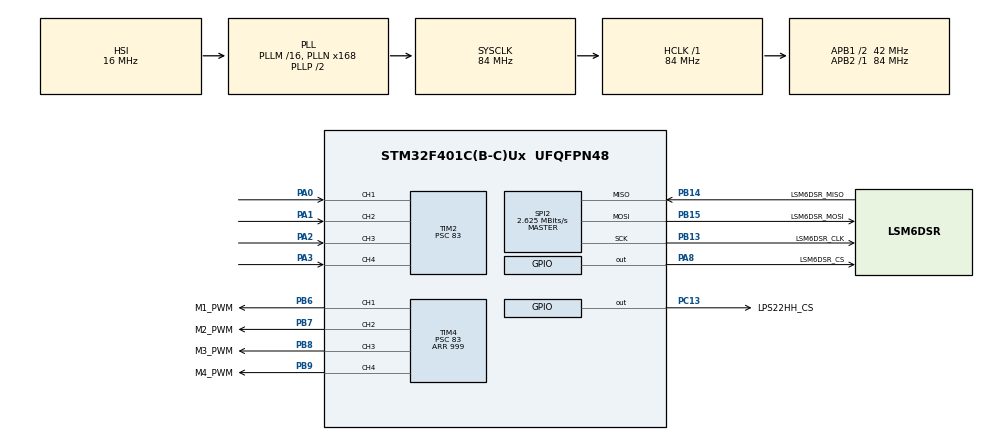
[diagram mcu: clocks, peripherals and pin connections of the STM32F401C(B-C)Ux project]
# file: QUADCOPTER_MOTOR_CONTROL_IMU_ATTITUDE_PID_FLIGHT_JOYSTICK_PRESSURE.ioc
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Mcu.Family=STM32F4
Mcu.Name=STM32F401C(B-C)Ux
Mcu.Package=UFQFPN48
NVIC.PriorityGroup=NVIC_PRIORITYGROUP_4
NVIC.TIM2_IRQn=true\:0\:0\:false\:false\:true\:true\:true\:true
NVIC.TIM3_IRQn=true\:0\:0\:false\:false\:true\:true\:true\:true
PA0-WKUP.Signal=S_TIM2_CH1_ETR
PA1.Signal=S_TIM2_CH2
PA2.Signal=S_TIM2_CH3
PA3.Signal=S_TIM2_CH4
PA8.GPIO_Label=LSM6DSR_CS
PA8.GPIO_PuPd=GPIO_PULLUP
PA8.PinState=GPIO_PIN_SET
PA8.Signal=GPIO_Output
PB13.GPIO_Label=LSM6DSR_CLK
PB13.Mode=Full_Duplex_Master
PB13.Signal=SPI2_SCK
PB14.GPIO_Label=LSM6DSR_MISO
PB14.Mode=Full_Duplex_Master
PB14.Signal=SPI2_MISO
PB15.GPIO_Label=LSM6DSR_MOSI
PB15.Mode=Full_Duplex_Master
PB15.Signal=SPI2_MOSI
PB6.GPIO_Label=M1_PWM
PB6.Signal=S_TIM4_CH1
PB7.GPIO_Label=M2_PWM
PB7.Signal=S_TIM4_CH2
PB8.GPIO_Label=M3_PWM
PB8.Signal=S_TIM4_CH3
PB9.GPIO_Label=M4_PWM
PB9.Signal=S_TIM4_CH4
PC13-ANTI_TAMP.GPIO_Label=LPS22HH_CS
PC13-ANTI_TAMP.GPIO_PuPd=GPIO_PULLUP
PC13-ANTI_TAMP.PinState=GPIO_PIN_SET
PC13-ANTI_TAMP.Signal=GPIO_Output
ProjectManager.HeapSize=0x200
ProjectManager.StackSize=0x400
ProjectManager.TargetToolchain=STM32CubeIDE
RCC.48MHZClocksFreq_Value=42000000
RCC.AHBFreq_Value=84000000
RCC.APB1CLKDivider=RCC_HCLK_DIV2
RCC.APB1Freq_Value=42000000
RCC.APB1TimFreq_Value=84000000
RCC.APB2Freq_Value=84000000
RCC.APB2TimFreq_Value=84000000
RCC.CortexFreq_Value=84000000
RCC.HCLKFreq_Value=84000000
RCC.HSE_VALUE=25000000
RCC.HSI_VALUE=16000000
RCC.LSE_VALUE=32768
RCC.PLLN=168
RCC.SYSCLKFreq_VALUE=84000000
RCC.SYSCLKSource=RCC_SYSCLKSOURCE_PLLCLK
RCC.VCOOutputFreq_Value=168000000
SH.S_TIM2_CH1_ETR.0=TIM2_CH1,Input_Capture1_from_TI1
SH.S_TIM2_CH2.0=TIM2_CH2,Input_Capture2_from_TI2
SH.S_TIM2_CH3.0=TIM2_CH3,Input_Capture3_from_TI3
SH.S_TIM2_CH4.0=TIM2_CH4,Input_Capture4_from_TI4
SH.S_TIM4_CH1.0=TIM4_CH1,PWM Generation1 CH1
SH.S_TIM4_CH2.0=TIM4_CH2,PWM Generation2 CH2
SH.S_TIM4_CH3.0=TIM4_CH3,PWM Generation3 CH3
SH.S_TIM4_CH4.0=TIM4_CH4,PWM Generation4 CH4
SPI2.BaudRatePrescaler=SPI_BAUDRATEPRESCALER_16
SPI2.CalculateBaudRate=2.625 MBits/s
SPI2.Direction=SPI_DIRECTION_2LINES
SPI2.Mode=SPI_MODE_MASTER
SPI2.VirtualType=VM_MASTER
STMicroelectronics.X-CUBE-ALGOBUILD.1.4.0.LibraryCcDSPOoLibraryJjDSPOoLibrary=true
TIM2.Channel-Input_Capture1_from_TI1=TIM_CHANNEL_1
TIM2.Channel-Input_Capture2_from_TI2=TIM_CHANNEL_2
TIM2.Channel-Input_Capture3_from_TI3=TIM_CHANNEL_3
TIM2.Channel-Input_Capture4_from_TI4=TIM_CHANNEL_4
TIM2.ICPolarity_CH1=TIM_INPUTCHANNELPOLARITY_BOTHEDGE
TIM2.ICPolarity_CH2=TIM_INPUTCHANNELPOLARITY_BOTHEDGE
TIM2.ICPolarity_CH3=TIM_INPUTCHANNELPOLARITY_BOTHEDGE
TIM2.ICPolarity_CH4=TIM_INPUTCHANNELPOLARITY_BOTHEDGE
TIM2.Prescaler=83
TIM3.Period=1999
TIM3.Prescaler=83
TIM4.Channel-PWM\ Generation1\ CH1=TIM_CHANNEL_1
TIM4.Channel-PWM\ Generation2\ CH2=TIM_CHANNEL_2
TIM4.Channel-PWM\ Generation3\ CH3=TIM_CHANNEL_3
TIM4.Channel-PWM\ Generation4\ CH4=TIM_CHANNEL_4
TIM4.Period=999
TIM4.Prescaler=83
VP_STMicroelectronics.X-CUBE-ALGOBUILD_VS_DSPOoLibraryJjLibrary_1.4.0_1.4.0.Mode=DSPOoLibraryJjLibrary
VP_TIM2_VS_ClockSourceINT.Mode=Internal
VP_TIM3_VS_ClockSourceINT.Mode=Internal
VP_TIM4_VS_ClockSourceINT.Mode=Internal
board=custom

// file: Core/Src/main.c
/* USER CODE BEGIN Header */
/**
  ******************************************************************************
  * @file           : main.c
  * @brief          : Main program body
  ******************************************************************************
  * @attention
  *
  * Copyright (c) 2025 STMicroelectronics.
  * All rights reserved.
  *
  * This software is licensed under terms that can be found in the LICENSE file
  * in the root directory of this software component.
  * If no LICENSE file comes with this software, it is provided AS-IS.
  *
  ******************************************************************************
  */
/* USER CODE END Header */
#include "main.h"

/* USER CODE BEGIN Includes */
#include "motor_drone.h"
#include "LSM6DSR.h"
#include "imu_data.h"
#include "euler_angles.h"
#include "pid_control.h"
#include "drone_control.h"
#include "LPS22HH.h"
/* USER CODE END Includes */

SPI_HandleTypeDef hspi2;

TIM_HandleTypeDef htim2;
TIM_HandleTypeDef htim3;
TIM_HandleTypeDef htim4;

/* USER CODE BEGIN PV */
lsm6dsr_handler imu_sensor =
{
		.spi_imu = &hspi2,
		.gpio_cs_pin = LSM6DSR_CS_Pin ,
		.gpio_cs_port = LSM6DSR_CS_GPIO_Port,
};
lps22hh_handler pressure_sensor =
{
		.gpio_cs_pin = LPS22HH_CS_Pin,
		.gpio_cs_port = LPS22HH_CS_GPIO_Port,
		.spi_handler = &hspi2,
};
static imu_norm imu_norm_data;
static euler_angles euler_angles_robot;
static euler_angles euler_angles_reference =
{
		.pitch = 0,
		.roll = 0,
		.yaw = 0,
};
extern DroneTypeDef drone;
static float altitude_reference;
/* USER CODE END PV */

void SystemClock_Config(void);
static void MX_GPIO_Init(void);
static void MX_TIM4_Init(void);
static void MX_SPI2_Init(void);
static void MX_TIM3_Init(void);
static void MX_TIM2_Init(void);

/* USER CODE BEGIN 0 */
void HAL_TIM_PeriodElapsedCallback(TIM_HandleTypeDef *htim)
{
	if(htim == &htim3)
	{
		lsm6dsr_read_data(&imu_sensor);
		sensor2imu_lsm6dsr(imu_sensor, &imu_norm_data);
		complementary_filter_euler(imu_norm_data,  &euler_angles_robot);
		drone_update_angle(&drone,euler_angles_robot);
		lps22hh_estimate_altitude(&pressure_sensor);
		drone.altitude = pressure_sensor.altitude;
		if(!drone.start_flight)
		{
			drone_set_zero(&drone);
			euler_angles_reference.pitch = 0;
			euler_angles_reference.roll = 0;
			euler_angles_reference.yaw = 0;
			altitude_reference = 0;

		}
		else
		{
			drone_apply_control(&drone, euler_angles_reference, altitude_reference);
		}

	}
}
uint32_t ch1_duty,ch2_duty,ch3_duty,ch4_duty;
void HAL_TIM_IC_CaptureCallback(TIM_HandleTypeDef *htim)
{
	static uint32_t ch1_last, ch2_last, ch3_last,ch4_last;
	static int16_t start_flight_counter = 0;
	uint32_t ch1,ch2,ch3,ch4;
    if(htim ->Channel == HAL_TIM_ACTIVE_CHANNEL_1)
    {
        ch1 = HAL_TIM_ReadCapturedValue(htim, TIM_CHANNEL_1);
        if(ch1 > ch1_last && ch1 - ch1_last < 3000)
        {
        	ch1_duty = ch1 - ch1_last;
        	euler_angles_reference.roll = ((float)ch1_duty - 1500) / 1250;
        }
        ch1_last = ch1;
    }
    if(htim ->Channel == HAL_TIM_ACTIVE_CHANNEL_2)
    {
        ch2 = HAL_TIM_ReadCapturedValue(htim, TIM_CHANNEL_2);
        if(ch2 > ch2_last && ch2 - ch2_last < 3000)
        {
        	ch2_duty = ch2 - ch2_last;
        	euler_angles_reference.pitch = ((float)ch2_duty - 1500) / 1250;
        }
        ch2_last = ch2;

    }
    if(htim ->Channel == HAL_TIM_ACTIVE_CHANNEL_3)
    {
        ch3 = HAL_TIM_ReadCapturedValue(htim, TIM_CHANNEL_3);
        if(ch3 > ch3_last && ch3 - ch3_last < 3000)
        {
        	ch3_duty = ch3 - ch3_last;
        if(ch3_duty > 1650)
		{
			if(start_flight_counter >= 100)
			{
				start_flight_counter = 100;
				drone.start_flight = 1;
				altitude_reference = 1;
			}
			else
			{
				start_flight_counter++;
			}
		}
		else
		{
			if(ch3_duty < 1050)
			{
				if(start_flight_counter <= 0)
				{
					drone.start_flight = 0;
				}
				else
				{
					start_flight_counter--;
				}
			}

		}
		if(drone.start_flight)
		{
			drone.voltage_default = HOVERING_VOLTAGE;
			altitude_reference += ((float)ch3_duty - 1500) / 100000;

		}
		else
		{
			drone.voltage_default = 0;
			euler_angles_robot.yaw = 0;
			euler_angles_reference.yaw = 0;
			altitude_reference = 0;
		}
        }
        ch3_last = ch3;

    }
    if(htim ->Channel == HAL_TIM_ACTIVE_CHANNEL_4)
    {
    	ch4 = HAL_TIM_ReadCapturedValue(htim, TIM_CHANNEL_4);
		if(ch4 > ch4_last && ch4 - ch4_last < 3000)
		{
			ch4_duty = ch4 - ch4_last;
			if(ch4_duty > 1520 || ch4_duty < 1480)
			{
				euler_angles_reference.yaw += ((float)ch4_duty - 1500) / 25000;
				if(euler_angles_reference.yaw > PI)
				{
					euler_angles_reference.yaw -= 2 *PI;
				}
				if(euler_angles_reference.yaw < -PI)
				{
					euler_angles_reference.yaw += 2 *PI;
				}
			}
		}
		 ch4_last = ch4;
    }
}

/* USER CODE END 0 */

int main(void)
{

  /* MCU Configuration--------------------------------------------------------*/

  /* Reset of all peripherals, Initializes the Flash interface and the Systick. */
  HAL_Init();

  /* Configure the system clock */
  SystemClock_Config();

  /* Initialize all configured peripherals */
  MX_GPIO_Init();
  MX_TIM4_Init();
  MX_SPI2_Init();
  MX_TIM3_Init();
  MX_TIM2_Init();
  /* USER CODE BEGIN 2 */
  HAL_Delay(1000);
  lsm6dsr_init(&imu_sensor, 500);
  drone_initialization(&drone);
  lps22hh_init(&pressure_sensor);
  HAL_TIM_Base_Start_IT(&htim3);
  HAL_Delay(1000);
  // drone.start_flight = 1;
  HAL_TIM_IC_Start_IT(&htim2, TIM_CHANNEL_1);
  HAL_TIM_IC_Start_IT(&htim2, TIM_CHANNEL_2);
  HAL_TIM_IC_Start_IT(&htim2, TIM_CHANNEL_3);
  HAL_TIM_IC_Start_IT(&htim2, TIM_CHANNEL_4);
  /* USER CODE END 2 */

  /* Infinite loop */
  while (1)
  {

  }
}

void SystemClock_Config(void)
{
  RCC_OscInitTypeDef RCC_OscInitStruct = {0};
  RCC_ClkInitTypeDef RCC_ClkInitStruct = {0};

  /** Configure the main internal regulator output voltage
  */
  __HAL_RCC_PWR_CLK_ENABLE();
  __HAL_PWR_VOLTAGESCALING_CONFIG(PWR_REGULATOR_VOLTAGE_SCALE2);

  /** Initializes the RCC Oscillators according to the specified parameters
  * in the RCC_OscInitTypeDef structure.
  */
  RCC_OscInitStruct.OscillatorType = RCC_OSCILLATORTYPE_HSI;
  RCC_OscInitStruct.HSIState = RCC_HSI_ON;
  RCC_OscInitStruct.HSICalibrationValue = RCC_HSICALIBRATION_DEFAULT;
  RCC_OscInitStruct.PLL.PLLState = RCC_PLL_ON;
  RCC_OscInitStruct.PLL.PLLSource = RCC_PLLSOURCE_HSI;
  RCC_OscInitStruct.PLL.PLLM = 16;
  RCC_OscInitStruct.PLL.PLLN = 168;
  RCC_OscInitStruct.PLL.PLLP = RCC_PLLP_DIV2;
  RCC_OscInitStruct.PLL.PLLQ = 4;
  if (HAL_RCC_OscConfig(&RCC_OscInitStruct) != HAL_OK)
  {
    Error_Handler();
  }

  /** Initializes the CPU, AHB and APB buses clocks
  */
  RCC_ClkInitStruct.ClockType = RCC_CLOCKTYPE_HCLK|RCC_CLOCKTYPE_SYSCLK
                              |RCC_CLOCKTYPE_PCLK1|RCC_CLOCKTYPE_PCLK2;
  RCC_ClkInitStruct.SYSCLKSource = RCC_SYSCLKSOURCE_PLLCLK;
  RCC_ClkInitStruct.AHBCLKDivider = RCC_SYSCLK_DIV1;
  RCC_ClkInitStruct.APB1CLKDivider = RCC_HCLK_DIV2;
  RCC_ClkInitStruct.APB2CLKDivider = RCC_HCLK_DIV1;

  if (HAL_RCC_ClockConfig(&RCC_ClkInitStruct, FLASH_LATENCY_2) != HAL_OK)
  {
    Error_Handler();
  }
}

static void MX_SPI2_Init(void)
{

  /* SPI2 parameter configuration*/
  hspi2.Instance = SPI2;
  hspi2.Init.Mode = SPI_MODE_MASTER;
  hspi2.Init.Direction = SPI_DIRECTION_2LINES;
  hspi2.Init.DataSize = SPI_DATASIZE_8BIT;
  hspi2.Init.CLKPolarity = SPI_POLARITY_LOW;
  hspi2.Init.CLKPhase = SPI_PHASE_1EDGE;
  hspi2.Init.NSS = SPI_NSS_SOFT;
  hspi2.Init.BaudRatePrescaler = SPI_BAUDRATEPRESCALER_16;
  hspi2.Init.FirstBit = SPI_FIRSTBIT_MSB;
  hspi2.Init.TIMode = SPI_TIMODE_DISABLE;
  hspi2.Init.CRCCalculation = SPI_CRCCALCULATION_DISABLE;
  hspi2.Init.CRCPolynomial = 10;
  if (HAL_SPI_Init(&hspi2) != HAL_OK)
  {
    Error_Handler();
  }

}

static void MX_TIM2_Init(void)
{

  TIM_ClockConfigTypeDef sClockSourceConfig = {0};
  TIM_MasterConfigTypeDef sMasterConfig = {0};
  TIM_IC_InitTypeDef sConfigIC = {0};

  htim2.Instance = TIM2;
  htim2.Init.Prescaler = 83;
  htim2.Init.CounterMode = TIM_COUNTERMODE_UP;
  htim2.Init.Period = 4294967295;
  htim2.Init.ClockDivision = TIM_CLOCKDIVISION_DIV1;
  htim2.Init.AutoReloadPreload = TIM_AUTORELOAD_PRELOAD_DISABLE;
  if (HAL_TIM_Base_Init(&htim2) != HAL_OK)
  {
    Error_Handler();
  }
  sClockSourceConfig.ClockSource = TIM_CLOCKSOURCE_INTERNAL;
  if (HAL_TIM_ConfigClockSource(&htim2, &sClockSourceConfig) != HAL_OK)
  {
    Error_Handler();
  }
  if (HAL_TIM_IC_Init(&htim2) != HAL_OK)
  {
    Error_Handler();
  }
  sMasterConfig.MasterOutputTrigger = TIM_TRGO_RESET;
  sMasterConfig.MasterSlaveMode = TIM_MASTERSLAVEMODE_DISABLE;
  if (HAL_TIMEx_MasterConfigSynchronization(&htim2, &sMasterConfig) != HAL_OK)
  {
    Error_Handler();
  }
  sConfigIC.ICPolarity = TIM_INPUTCHANNELPOLARITY_BOTHEDGE;
  sConfigIC.ICSelection = TIM_ICSELECTION_DIRECTTI;
  sConfigIC.ICPrescaler = TIM_ICPSC_DIV1;
  sConfigIC.ICFilter = 0;
  if (HAL_TIM_IC_ConfigChannel(&htim2, &sConfigIC, TIM_CHANNEL_1) != HAL_OK)
  {
    Error_Handler();
  }
  if (HAL_TIM_IC_ConfigChannel(&htim2, &sConfigIC, TIM_CHANNEL_2) != HAL_OK)
  {
    Error_Handler();
  }
  if (HAL_TIM_IC_ConfigChannel(&htim2, &sConfigIC, TIM_CHANNEL_3) != HAL_OK)
  {
    Error_Handler();
  }
  if (HAL_TIM_IC_ConfigChannel(&htim2, &sConfigIC, TIM_CHANNEL_4) != HAL_OK)
  {
    Error_Handler();
  }

}

static void MX_TIM3_Init(void)
{

  TIM_ClockConfigTypeDef sClockSourceConfig = {0};
  TIM_MasterConfigTypeDef sMasterConfig = {0};

  htim3.Instance = TIM3;
  htim3.Init.Prescaler = 83;
  htim3.Init.CounterMode = TIM_COUNTERMODE_UP;
  htim3.Init.Period = 1999;
  htim3.Init.ClockDivision = TIM_CLOCKDIVISION_DIV1;
  htim3.Init.AutoReloadPreload = TIM_AUTORELOAD_PRELOAD_DISABLE;
  if (HAL_TIM_Base_Init(&htim3) != HAL_OK)
  {
    Error_Handler();
  }
  sClockSourceConfig.ClockSource = TIM_CLOCKSOURCE_INTERNAL;
  if (HAL_TIM_ConfigClockSource(&htim3, &sClockSourceConfig) != HAL_OK)
  {
    Error_Handler();
  }
  sMasterConfig.MasterOutputTrigger = TIM_TRGO_RESET;
  sMasterConfig.MasterSlaveMode = TIM_MASTERSLAVEMODE_DISABLE;
  if (HAL_TIMEx_MasterConfigSynchronization(&htim3, &sMasterConfig) != HAL_OK)
  {
    Error_Handler();
  }

}

static void MX_TIM4_Init(void)
{

  TIM_ClockConfigTypeDef sClockSourceConfig = {0};
  TIM_MasterConfigTypeDef sMasterConfig = {0};
  TIM_OC_InitTypeDef sConfigOC = {0};

  htim4.Instance = TIM4;
  htim4.Init.Prescaler = 83;
  htim4.Init.CounterMode = TIM_COUNTERMODE_UP;
  htim4.Init.Period = 999;
  htim4.Init.ClockDivision = TIM_CLOCKDIVISION_DIV1;
  htim4.Init.AutoReloadPreload = TIM_AUTORELOAD_PRELOAD_DISABLE;
  if (HAL_TIM_Base_Init(&htim4) != HAL_OK)
  {
    Error_Handler();
  }
  sClockSourceConfig.ClockSource = TIM_CLOCKSOURCE_INTERNAL;
  if (HAL_TIM_ConfigClockSource(&htim4, &sClockSourceConfig) != HAL_OK)
  {
    Error_Handler();
  }
  if (HAL_TIM_PWM_Init(&htim4) != HAL_OK)
  {
    Error_Handler();
  }
  sMasterConfig.MasterOutputTrigger = TIM_TRGO_RESET;
  sMasterConfig.MasterSlaveMode = TIM_MASTERSLAVEMODE_DISABLE;
  if (HAL_TIMEx_MasterConfigSynchronization(&htim4, &sMasterConfig) != HAL_OK)
  {
    Error_Handler();
  }
  sConfigOC.OCMode = TIM_OCMODE_PWM1;
  sConfigOC.Pulse = 0;
  sConfigOC.OCPolarity = TIM_OCPOLARITY_HIGH;
  sConfigOC.OCFastMode = TIM_OCFAST_DISABLE;
  if (HAL_TIM_PWM_ConfigChannel(&htim4, &sConfigOC, TIM_CHANNEL_1) != HAL_OK)
  {
    Error_Handler();
  }
  if (HAL_TIM_PWM_ConfigChannel(&htim4, &sConfigOC, TIM_CHANNEL_2) != HAL_OK)
  {
    Error_Handler();
  }
  if (HAL_TIM_PWM_ConfigChannel(&htim4, &sConfigOC, TIM_CHANNEL_3) != HAL_OK)
  {
    Error_Handler();
  }
  if (HAL_TIM_PWM_ConfigChannel(&htim4, &sConfigOC, TIM_CHANNEL_4) != HAL_OK)
  {
    Error_Handler();
  }
  /* USER CODE BEGIN TIM4_Init 2 */
  HAL_TIM_Base_Start(&htim4);
    HAL_TIM_PWM_Start(&htim4, TIM_CHANNEL_1);
    HAL_TIM_PWM_Start(&htim4, TIM_CHANNEL_2);
    HAL_TIM_PWM_Start(&htim4, TIM_CHANNEL_3);
    HAL_TIM_PWM_Start(&htim4, TIM_CHANNEL_4);
  /* USER CODE END TIM4_Init 2 */
  HAL_TIM_MspPostInit(&htim4);

}

static void MX_GPIO_Init(void)
{
  GPIO_InitTypeDef GPIO_InitStruct = {0};

  /* GPIO Ports Clock Enable */
  __HAL_RCC_GPIOC_CLK_ENABLE();
  __HAL_RCC_GPIOA_CLK_ENABLE();
  __HAL_RCC_GPIOB_CLK_ENABLE();

  /*Configure GPIO pin Output Level */
  HAL_GPIO_WritePin(LPS22HH_CS_GPIO_Port, LPS22HH_CS_Pin, GPIO_PIN_SET);

  /*Configure GPIO pin Output Level */
  HAL_GPIO_WritePin(LSM6DSR_CS_GPIO_Port, LSM6DSR_CS_Pin, GPIO_PIN_SET);

  /*Configure GPIO pin : LPS22HH_CS_Pin */
  GPIO_InitStruct.Pin = LPS22HH_CS_Pin;
  GPIO_InitStruct.Mode = GPIO_MODE_OUTPUT_PP;
  GPIO_InitStruct.Pull = GPIO_PULLUP;
  GPIO_InitStruct.Speed = GPIO_SPEED_FREQ_LOW;
  HAL_GPIO_Init(LPS22HH_CS_GPIO_Port, &GPIO_InitStruct);

  /*Configure GPIO pin : LSM6DSR_CS_Pin */
  GPIO_InitStruct.Pin = LSM6DSR_CS_Pin;
  GPIO_InitStruct.Mode = GPIO_MODE_OUTPUT_PP;
  GPIO_InitStruct.Pull = GPIO_PULLUP;
  GPIO_InitStruct.Speed = GPIO_SPEED_FREQ_LOW;
  HAL_GPIO_Init(LSM6DSR_CS_GPIO_Port, &GPIO_InitStruct);

}

void Error_Handler(void)
{
  __disable_irq();
  while (1)
  {
  }
}
